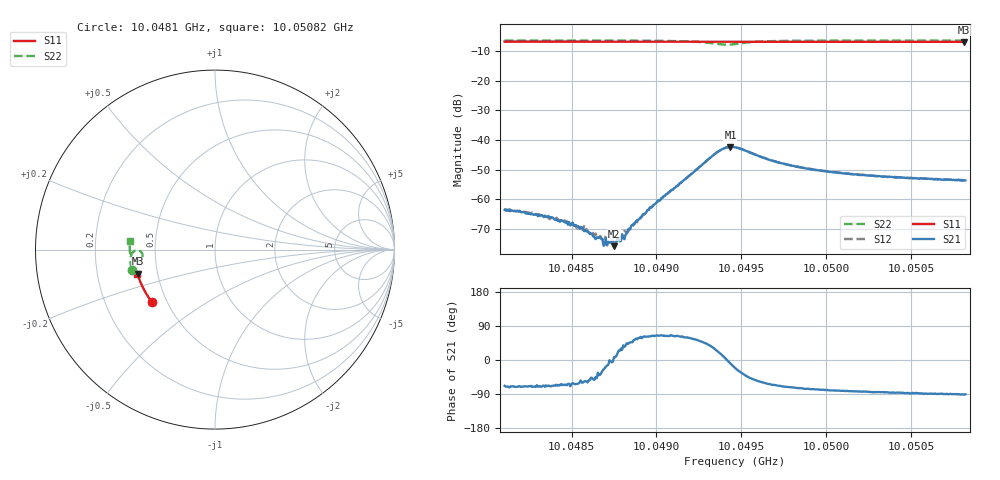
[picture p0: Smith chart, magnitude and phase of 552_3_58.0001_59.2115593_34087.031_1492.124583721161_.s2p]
#  HZ  S  RI  R  50.00
! Rohde & Schwarz Vector Network Analyzer
! Rohde-Schwarz,ZNB20-2Port,1311601062101988,3.16
! Created: UTC 3/21/2024, 1:15:03 AM
! freq[Hz]  re:S11  im:S11  re:S21  im:S21  re:S12  im:S12  re:S22  im:S22
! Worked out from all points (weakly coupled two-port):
!   401 points, 10.0481 GHz to 10.05082 GHz, reference 50 ohm
!   highest |S21| = -42.38 dB at 10.04944 GHz (marker M1); lowest = -75.9 dB at 10.04875 GHz (marker M2)
!   lowest |S11| = -6.9 dB at 10.05081 GHz (marker M3), VSWR 2.65, Z = 19.2 - j6.52 ohm
!   |S11| at or under -10 dB: nowhere
!   |S22| runs from -7.9 to -6.4 dB; largest |S21 - S12| = 0.00056
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1.0048105e10  -0.3514 -0.2919  0.000245 -0.000612  0.00025 -0.000621  -0.4646 -0.1119
1.004822e10  -0.3561 -0.2859  0.000219 -0.000574  0.000256 -0.000542  -0.4659 -0.1037
1.0048377e10  -0.3623 -0.2774  0.000173 -0.000466  0.000196 -0.000439  -0.4679 -0.0928
1.004856e10  -0.3694 -0.2676  0.000169 -0.00029  0.000171 -0.000256  -0.4696 -0.0792
1.0048641e10  -0.3721 -0.2632  0.00015 -0.000148  0.000208 -0.00016  -0.4701 -0.0728
1.0048668e10  -0.3732 -0.2617  0.00018 -0.000144  0.000201 -0.000128  -0.4704 -0.0707
1.0048696e10  -0.3741 -0.2602  0.00016 -6.26e-05  0.000213 -9.05e-05  -0.4704 -0.0686
1.004875e10  -0.3762 -0.2572  0.000159 2.23e-05  0.000183 2.08e-05  -0.4708 -0.0641
1.0048764e10  -0.3766 -0.2563  0.000184 3.43e-05  0.000182 6.67e-05  -0.4708 -0.0629
1.0048784e10  -0.3773 -0.2553  0.000176 7.92e-05  0.000199 9.37e-05  -0.4708 -0.0613
1.0048797e10  -0.3777 -0.2544  0.000228 0.000115  0.000185 0.000116  -0.4708 -0.0601
1.0048865e10  -0.3801 -0.2506  0.000222 0.000291  0.000226 0.000313  -0.4708 -0.054
1.0049015e10  -0.3853 -0.2424  0.000418 0.000861  0.000352 0.000878  -0.4691 -0.0392
1.0049347e10  -0.3954 -0.223  0.00521 0.00271  0.00504 0.00309  -0.4213 -0.00615
1.0049395e10  -0.3967 -0.2204  0.00704 0.00116  0.00698 0.00161  -0.4061 -0.0211
1.0049436e10  -0.3979 -0.218  0.00751 -0.00122  0.0076 -0.000716  -0.4048 -0.0417
1.0049463e10  -0.3986 -0.2168  0.00702 -0.00266  0.0072 -0.00214  -0.4114 -0.053
1.0049707e10  -0.4062 -0.2027  0.00166 -0.00388  0.00189 -0.00384  -0.4655 -0.0422
1.0049918e10  -0.4118 -0.19  0.000712 -0.00311  0.000879 -0.00307  -0.4732 -0.0191
1.0050373e10  -0.4229 -0.1622  0.000158 -0.00238  0.000328 -0.00236  -0.4753 0.0184
1.0050814e10  -0.4316 -0.1348  -5.28e-05 -0.00209  6.57e-05 -0.00208  -0.4733 0.0499
1.0050821e10  -0.432 -0.1342  -2.05e-05 -0.00206  7.66e-05 -0.00208  -0.4731 0.0503
